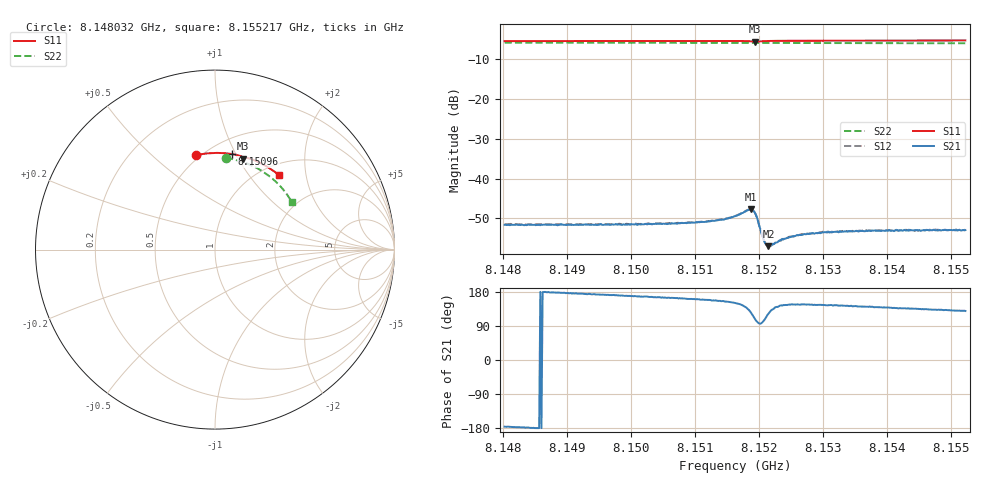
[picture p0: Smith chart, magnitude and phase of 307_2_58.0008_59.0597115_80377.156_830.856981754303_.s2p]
#  HZ  S  RI  R  50.00
! Rohde & Schwarz Vector Network Analyzer
! Rohde-Schwarz,ZNB20-2Port,1311601062101988,3.16
! Created: UTC 3/21/2024, 1:04:02 AM
! freq[Hz]  re:S11  im:S11  re:S21  im:S21  re:S12  im:S12  re:S22  im:S22
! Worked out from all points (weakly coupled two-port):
!   401 points, 8.148032 GHz to 8.155217 GHz, reference 50 ohm
!   highest |S21| = -47.72 dB at 8.151876 GHz (marker M1); lowest = -57.0 dB at 8.152146 GHz (marker M2)
!   lowest |S11| = -5.5 dB at 8.15193 GHz (marker M3), VSWR 3.25, Z = 37.3 + j52.4 ohm
!   |S11| at or under -10 dB: nowhere
!   |S22| runs from -5.9 to -5.8 dB; largest |S21 - S12| = 0.00012
!   S11 on the Smith chart (normalised r, x): 8.148032 GHz: 0.47, +0.70; 8.15096 GHz: 0.64, +0.97; 8.155217 GHz: 1.20, +1.42
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8.1480323e9  -0.1075 0.5252  -0.00262 -0.000188  -0.00266 -0.00013  0.0605 0.5104
8.1492358e9  -0.0245 0.5374  -0.00263 0.000227  -0.00266 0.0003  0.1374 0.494
8.1504393e9  0.0594 0.5368  -0.00263 0.000666  -0.00264 0.000752  0.2101 0.4662
8.1509602e9  0.0959 0.5324  -0.00265 0.000921  -0.00267 0.000939  0.24 0.4506
8.1513733e9  0.1248 0.5267  -0.00276 0.00124  -0.00278 0.00128  0.2628 0.4371
8.1516248e9  0.1431 0.5212  -0.00294 0.00167  -0.00291 0.00173  0.2764 0.4282
8.1518224e9  0.1571 0.5126  -0.00284 0.00283  -0.00281 0.0029  0.2866 0.4208
8.1518763e9  0.1587 0.5086  -0.00232 0.00339  -0.00228 0.00345  0.2894 0.4185
8.1519302e9  0.1577 0.5058  -0.00128 0.00356  -0.00128 0.00358  0.2918 0.4166
8.1519661e9  0.1568 0.5063  -0.000651 0.00319  -0.000583 0.00322  0.2935 0.4154
8.152038e9  0.1587 0.5101  -0.000258 0.00203  -0.000259 0.00207  0.2973 0.4129
8.1520739e9  0.1613 0.5114  -0.000403 0.00163  -0.000384 0.00166  0.2991 0.4116
8.1521098e9  0.1644 0.5122  -0.000571 0.00137  -0.000562 0.00138  0.3011 0.4102
8.1521458e9  0.1673 0.5123  -0.00075 0.0012  -0.000741 0.00125  0.3029 0.4089
8.1521996e9  0.1719 0.5121  -0.000985 0.00108  -0.00099 0.00116  0.3056 0.4068
8.1523433e9  0.183 0.51  -0.00136 0.000974  -0.00136 0.00105  0.3129 0.4009
8.152487e9  0.1934 0.5069  -0.00153 0.00103  -0.00153 0.00108  0.32 0.3951
8.1526667e9  0.2057 0.5028  -0.00165 0.00107  -0.00167 0.00114  0.3286 0.3876
8.1528283e9  0.2164 0.4985  -0.00172 0.00115  -0.0017 0.00115  0.3362 0.3807
8.1532774e9  0.2453 0.4859  -0.00174 0.00126  -0.00174 0.00129  0.3565 0.3607
8.1540318e9  0.2913 0.461  -0.00168 0.00151  -0.00169 0.00152  0.3881 0.3248
8.1552174e9  0.3579 0.4138  -0.00143 0.00175  -0.00143 0.00179  0.4301 0.2631
